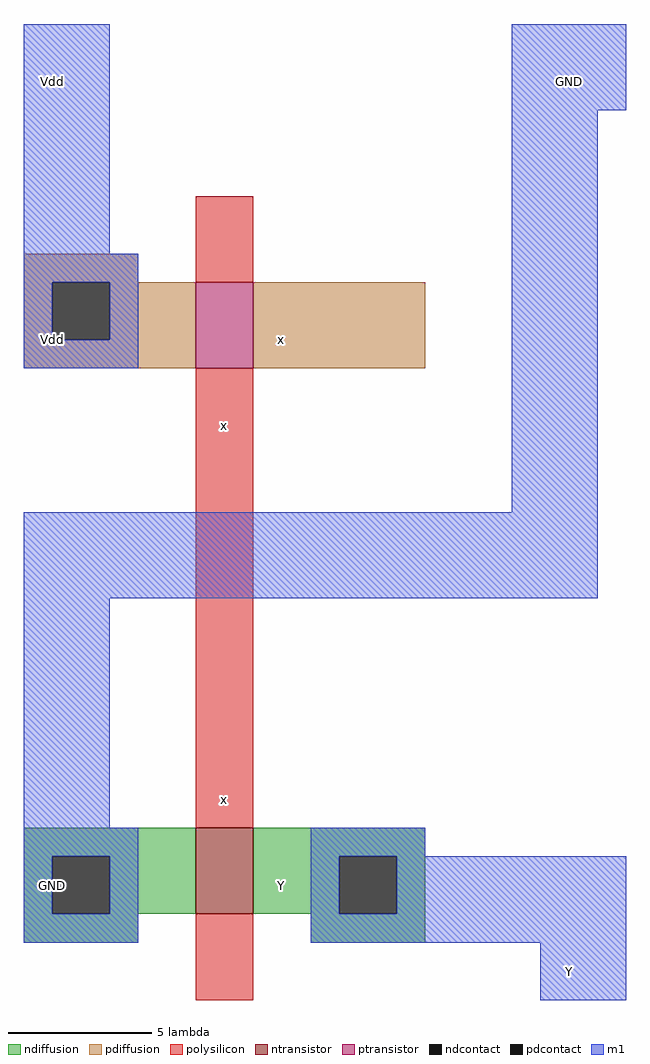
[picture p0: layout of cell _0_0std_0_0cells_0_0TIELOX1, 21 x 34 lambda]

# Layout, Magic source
magic
tech TSMC180
<< ndiffusion >>
rect 6 11 12 12
rect 6 9 7 11
rect 9 9 12 11
rect 14 11 20 12
rect 14 9 17 11
rect 19 9 20 11
rect 6 8 10 9
rect 16 8 20 9
<< ndcontact >>
rect 7 9 9 11
rect 17 9 19 11
<< ntransistor >>
rect 12 9 14 12
<< pdiffusion >>
rect 6 31 10 32
rect 6 29 7 31
rect 9 29 12 31
rect 6 28 12 29
rect 14 28 20 31
<< pdcontact >>
rect 7 29 9 31
<< ptransistor >>
rect 12 28 14 31
<< polysilicon >>
rect 12 31 14 34
rect 12 12 14 28
rect 12 6 14 9
<< m1 >>
rect 6 32 9 40
rect 23 37 27 40
rect 6 31 10 32
rect 6 29 7 31
rect 9 29 10 31
rect 6 28 10 29
rect 23 23 26 37
rect 6 20 26 23
rect 6 12 9 20
rect 6 11 10 12
rect 6 9 7 11
rect 9 9 10 11
rect 6 8 10 9
rect 16 11 20 12
rect 16 9 17 11
rect 19 9 27 11
rect 16 8 27 9
rect 24 6 27 8
<< labels >>
rlabel ndiffusion 15 10 15 10 3 Y
rlabel pdiffusion 15 29 15 29 3 x
rlabel polysilicon 13 13 13 13 3 x
rlabel polysilicon 13 26 13 26 3 x
rlabel pdiffusion 7 29 7 29 3 Vdd
rlabel m1 25 38 25 38 3 GND
port 4 e
rlabel m1 7 38 7 38 3 Vdd
port 6 e
rlabel ndiffusion 7 10 7 10 3 GND
rlabel m1 25 7 25 7 3 Y
port 5 e
<< end >>
